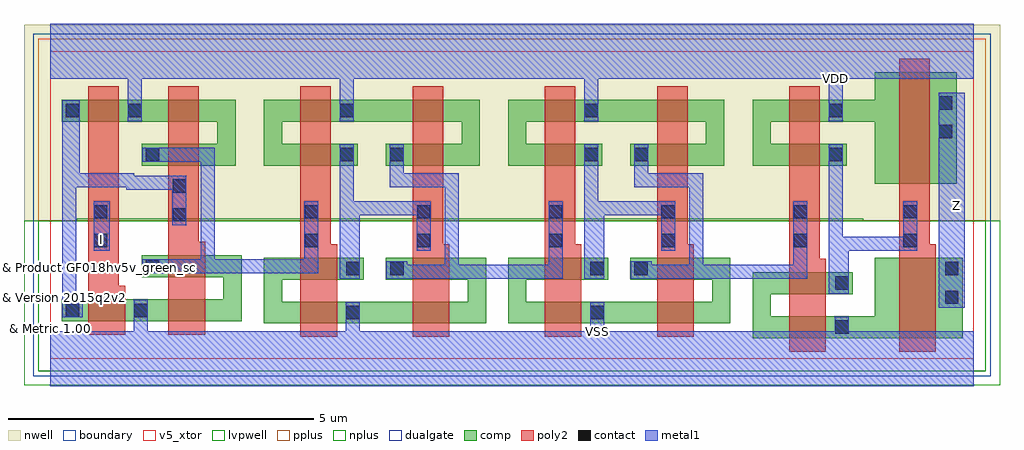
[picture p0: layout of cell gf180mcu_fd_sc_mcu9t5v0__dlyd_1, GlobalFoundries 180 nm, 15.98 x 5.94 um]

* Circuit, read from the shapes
.subckt gf180mcu_fd_sc_mcu9t5v0__dlyd_1 I VDD VSS Z
XM1 VSS I n1 VSUBS nfet_05v0 w=0.36u l=0.6u
XM2 n2 n1 VSS VSUBS nfet_05v0 w=0.36u l=0.6u
XM3 n2 n1 n3 VSUBS nfet_05v0 w=0.36u l=0.6u
XM4 VSS n3 n4 VSUBS nfet_05v0 w=0.36u l=0.6u
XM5 n5 n3 n4 VSUBS nfet_05v0 w=0.36u l=0.6u
XM6 n6 n5 VSS VSUBS nfet_05v0 w=0.36u l=0.6u
XM7 n6 n5 n7 VSUBS nfet_05v0 w=0.36u l=0.6u
XM8 VSS n7 n8 VSUBS nfet_05v0 w=0.36u l=0.6u
XM9 n9 n7 n8 VSUBS nfet_05v0 w=0.36u l=0.6u
XM10 n10 n9 VSS VSUBS nfet_05v0 w=0.36u l=0.6u
XM11 n10 n9 n11 VSUBS nfet_05v0 w=0.36u l=0.6u
XM12 VSS n11 n12 VSUBS nfet_05v0 w=0.36u l=0.6u
XM13 n13 n11 n12 VSUBS nfet_05v0 w=0.36u l=0.6u
XM14 Z n13 VSS VSUBS nfet_05v0 w=1.32u l=0.6u
XM15 VDD I n1 n14 pfet_05v0 w=0.36u l=0.5u
XM16 n15 n1 n3 n14 pfet_05v0 w=0.36u l=0.5u
XM17 n15 n1 VDD n14 pfet_05v0 w=0.36u l=0.5u
XM18 n5 n3 n16 n14 pfet_05v0 w=0.36u l=0.5u
XM19 VDD n3 n16 n14 pfet_05v0 w=0.36u l=0.5u
XM20 n17 n5 n7 n14 pfet_05v0 w=0.36u l=0.5u
XM21 n17 n5 VDD n14 pfet_05v0 w=0.36u l=0.5u
XM22 n9 n7 n18 n14 pfet_05v0 w=0.36u l=0.5u
XM23 VDD n7 n18 n14 pfet_05v0 w=0.36u l=0.5u
XM24 n19 n9 n11 n14 pfet_05v0 w=0.36u l=0.5u
XM25 n19 n9 VDD n14 pfet_05v0 w=0.36u l=0.5u
XM26 n13 n11 n20 n14 pfet_05v0 w=0.36u l=0.5u
XM27 VDD n11 n20 n14 pfet_05v0 w=0.36u l=0.5u
XM28 Z n13 VDD n14 pfet_05v0 w=1.83u l=0.5u
.ends

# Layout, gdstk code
import gdstk
lib = gdstk.Library(unit=1e-6, precision=1e-09)
def R(c, l, rs):  # rectangles x0, y0, x1, y1
    for r in rs: c.add(gdstk.rectangle(r[:2], r[2:], *l))
def P(c, l, *ps):  # polygons
    for p in ps: c.add(gdstk.Polygon(p, *l))
boundary = (0, 0)
nwell = (21, 0)
comp = (22, 0)
poly2 = (30, 0)
pplus = (31, 0)
nplus = (32, 0)
contact = (33, 0)
metal1 = (34, 0)
dualgate = (55, 0)
v5_xtor = (112, 1)
lvpwell = (204, 0)

gf180mcu_fd_sc_mcu9t5v0_ = lib.new_cell('gf180mcu_fd_sc_mcu9t5v0__dlyd_1')
R(gf180mcu_fd_sc_mcu9t5v0_, boundary, [(0,0,15.12,5.04)])
P(gf180mcu_fd_sc_mcu9t5v0_, nwell, [(-0.43,2.265),(-0.43,5.47),(15.55,5.47),(15.55,2.265),(13.31,2.265),(13.31,2.295),(0.43,2.295),(0.43,2.265)])
P(gf180mcu_fd_sc_mcu9t5v0_, comp, [(1.495,3.165),(1.495,3.525),(2.735,3.525),(2.735,3.885),(0.185,3.885),(0.185,4.245),(3.035,4.245),(3.035,3.165)],
  [(0.185,0.615),(0.185,0.975),(2.835,0.975),(2.835,1.335),(1.495,1.335),(1.495,1.695),(3.135,1.695),(3.135,0.615)],
  [(3.495,3.165),(3.495,4.245),(7.035,4.245),(7.035,3.165),(5.495,3.165),(5.495,3.525),(6.735,3.525),(6.735,3.885),(3.795,3.885),(3.795,3.525),(5.035,3.525),(5.035,3.165)],
  [(3.495,0.58),(3.495,1.66),(5.135,1.66),(5.135,1.3),(3.795,1.3),(3.795,0.94),(6.835,0.94),(6.835,1.3),(5.495,1.3),(5.495,1.66),(7.135,1.66),(7.135,0.58)],
  [(7.495,3.165),(7.495,4.245),(11.035,4.245),(11.035,3.165),(9.495,3.165),(9.495,3.525),(10.735,3.525),(10.735,3.885),(7.795,3.885),(7.795,3.525),(9.035,3.525),(9.035,3.165)],
  [(7.495,0.58),(7.495,1.66),(9.135,1.66),(9.135,1.3),(7.795,1.3),(7.795,0.94),(10.835,0.94),(10.835,1.3),(9.495,1.3),(9.495,1.66),(11.135,1.66),(11.135,0.58)],
  [(13.5,2.865),(13.5,3.885),(11.8,3.885),(11.8,3.525),(13.04,3.525),(13.04,3.165),(11.5,3.165),(11.5,4.245),(13.5,4.245),(13.5,4.695),(14.84,4.695),(14.84,2.865)],
  [(11.5,0.34),(11.5,1.42),(13.14,1.42),(13.14,1.06),(11.8,1.06),(11.8,0.7),(13.5,0.7),(13.5,1.66),(14.94,1.66),(14.94,0.34)])
P(gf180mcu_fd_sc_mcu9t5v0_, poly2, [(0.625,0.395),(0.625,4.465),(1.125,4.465),(1.125,1.195),(1.225,1.195),(1.225,0.395)],
  [(1.935,0.395),(1.935,4.465),(2.435,4.465),(2.435,1.915),(2.535,1.915),(2.535,0.395)],
  [(4.095,0.36),(4.095,4.465),(4.595,4.465),(4.595,1.88),(4.695,1.88),(4.695,0.36)],
  [(5.935,0.36),(5.935,4.465),(6.435,4.465),(6.435,1.88),(6.535,1.88),(6.535,0.36)],
  [(8.095,0.36),(8.095,4.465),(8.595,4.465),(8.595,1.88),(8.695,1.88),(8.695,0.36)],
  [(9.935,0.36),(9.935,4.465),(10.435,4.465),(10.435,1.88),(10.535,1.88),(10.535,0.36)],
  [(12.1,0.12),(12.1,4.465),(12.6,4.465),(12.6,1.64),(12.7,1.64),(12.7,0.12)],
  [(13.9,0.12),(13.9,4.915),(14.4,4.915),(14.4,1.88),(14.5,1.88),(14.5,0.12)])
R(gf180mcu_fd_sc_mcu9t5v0_, pplus, [(-0.2,2.265,15.32,5.24)])
R(gf180mcu_fd_sc_mcu9t5v0_, nplus, [(-0.2,-0.2,15.32,2.265)])
R(gf180mcu_fd_sc_mcu9t5v0_, contact, [(12.85,0.41,13.07,0.63), (4.845,0.65,5.065,0.87), (8.845,0.65,9.065,0.87), (0.255,0.685,0.475,0.905), (1.375,0.685,1.595,0.905), (14.65,0.9,14.87,1.12), (12.85,1.13,13.07,1.35), (4.845,1.37,5.065,1.59), (5.565,1.37,5.785,1.59), (8.845,1.37,9.065,1.59), (9.565,1.37,9.785,1.59), (14.65,1.37,14.87,1.59), (1.565,1.405,1.785,1.625), (0.715,1.83,0.935,2.05), (4.165,1.83,4.385,2.05), (6.005,1.83,6.225,2.05), (8.165,1.83,8.385,2.05), (10.005,1.83,10.225,2.05), (12.17,1.83,12.39,2.05), (13.97,1.83,14.19,2.05), (2.005,2.25,2.225,2.47), (0.715,2.3,0.935,2.52), (4.165,2.3,4.385,2.52), (6.005,2.3,6.225,2.52), (8.165,2.3,8.385,2.52), (10.005,2.3,10.225,2.52), (12.17,2.3,12.39,2.52), (13.97,2.3,14.19,2.52), (2.005,2.72,2.225,2.94), (1.565,3.235,1.785,3.455), (4.745,3.235,4.965,3.455), (5.565,3.235,5.785,3.455), (8.745,3.235,8.965,3.455), (9.565,3.235,9.785,3.455), (12.75,3.235,12.97,3.455), (14.55,3.61,14.77,3.83), (0.255,3.955,0.475,4.175), (1.275,3.955,1.495,4.175), (4.745,3.955,4.965,4.175), (8.745,3.955,8.965,4.175), (12.75,3.955,12.97,4.175), (14.55,4.08,14.77,4.3)])
R(gf180mcu_fd_sc_mcu9t5v0_, metal1, [(14.545,0.84,14.97,4.36), (0.71,1.77,0.97,2.58)])
P(gf180mcu_fd_sc_mcu9t5v0_, metal1, [(0.195,0.68),(0.195,4.235),(0.48,4.235),(0.48,3.04),(1.375,3.04),(1.375,3),(2.23,3),(2.23,2.19),(2,2.19),(2,2.77),(1.245,2.77),(1.245,2.81),(0.425,2.81),(0.425,0.91),(0.535,0.91),(0.535,0.68)],
  [(1.505,1.4),(1.505,1.63),(2.46,1.63),(2.46,3.23),(1.505,3.23),(1.505,3.46),(2.69,3.46),(2.69,1.63),(4.16,1.63),(4.16,2.58),(4.39,2.58),(4.39,1.4)],
  [(4.74,1.31),(4.74,3.515),(4.97,3.515),(4.97,2.58),(6.23,2.58),(6.23,1.77),(6,1.77),(6,2.35),(5.07,2.35),(5.07,1.31)],
  [(5.505,1.31),(5.505,1.595),(5.845,1.595),(5.845,1.54),(6.46,1.54),(6.46,2.81),(5.56,2.81),(5.56,3.515),(5.79,3.515),(5.79,3.04),(6.69,3.04),(6.69,1.54),(8.16,1.54),(8.16,2.58),(8.39,2.58),(8.39,1.31)],
  [(8.74,1.31),(8.74,3.515),(8.97,3.515),(8.97,2.58),(10.23,2.58),(10.23,1.77),(10,1.77),(10,2.35),(9.07,2.35),(9.07,1.31)],
  [(9.505,1.31),(9.505,1.595),(9.845,1.595),(9.845,1.54),(10.46,1.54),(10.46,2.81),(9.56,2.81),(9.56,3.515),(9.79,3.515),(9.79,3.04),(10.69,3.04),(10.69,1.54),(12.165,1.54),(12.165,2.58),(12.395,2.58),(12.395,1.31)],
  [(12.745,1.07),(12.745,3.515),(12.975,3.515),(12.975,2),(13.965,2),(13.965,2.58),(14.195,2.58),(14.195,1.77),(13.075,1.77),(13.075,1.07)],
  [(0,-0.45),(0,0.45),(1.37,0.45),(1.37,0.965),(1.6,0.965),(1.6,0.45),(4.84,0.45),(4.84,0.93),(5.07,0.93),(5.07,0.45),(8.84,0.45),(8.84,0.93),(9.07,0.93),(9.07,0.45),(12.845,0.45),(12.845,0.69),(13.075,0.69),(13.075,0.45),(15.12,0.45),(15.12,-0.45)],
  [(1.27,3.895),(1.27,4.59),(0,4.59),(0,5.49),(15.12,5.49),(15.12,4.59),(12.975,4.59),(12.975,3.895),(12.745,3.895),(12.745,4.59),(8.97,4.59),(8.97,3.895),(8.74,3.895),(8.74,4.59),(4.97,4.59),(4.97,3.895),(4.74,3.895),(4.74,4.59),(1.5,4.59),(1.5,3.895)])
R(gf180mcu_fd_sc_mcu9t5v0_, dualgate, [(-0.28,-0.28,15.4,5.32)])
R(gf180mcu_fd_sc_mcu9t5v0_, v5_xtor, [(0,0,15.12,5.04)])
P(gf180mcu_fd_sc_mcu9t5v0_, lvpwell, [(-0.43,-0.43),(-0.43,2.265),(0.43,2.265),(0.43,2.295),(13.31,2.295),(13.31,2.265),(15.55,2.265),(15.55,-0.43)])
gf180mcu_fd_sc_mcu9t5v0_.add(gdstk.Label('I', (0.84,1.96), layer=34, texttype=10))
gf180mcu_fd_sc_mcu9t5v0_.add(gdstk.Label('VDD', (12.86,4.59), layer=34, texttype=10))
gf180mcu_fd_sc_mcu9t5v0_.add(gdstk.Label('VSS', (8.955,0.45), layer=34, texttype=10))
gf180mcu_fd_sc_mcu9t5v0_.add(gdstk.Label('Z', (14.84,2.52), layer=34, texttype=10))
gf180mcu_fd_sc_mcu9t5v0_.add(gdstk.Label('& Vendor GLOBALFOUNDRIES', (0,2), layer=63, texttype=63))
gf180mcu_fd_sc_mcu9t5v0_.add(gdstk.Label('& Product GF018hv5v_green_sc9', (0,1.5), layer=63, texttype=63))
gf180mcu_fd_sc_mcu9t5v0_.add(gdstk.Label('& Version 2015q2v2', (0,1), layer=63, texttype=63))
gf180mcu_fd_sc_mcu9t5v0_.add(gdstk.Label('& Metric 1.00', (0,0.5), layer=63, texttype=63))

lib.write_gds('gf180mcu_fd_sc_mcu9t5v0__dlyd_1.gds')
